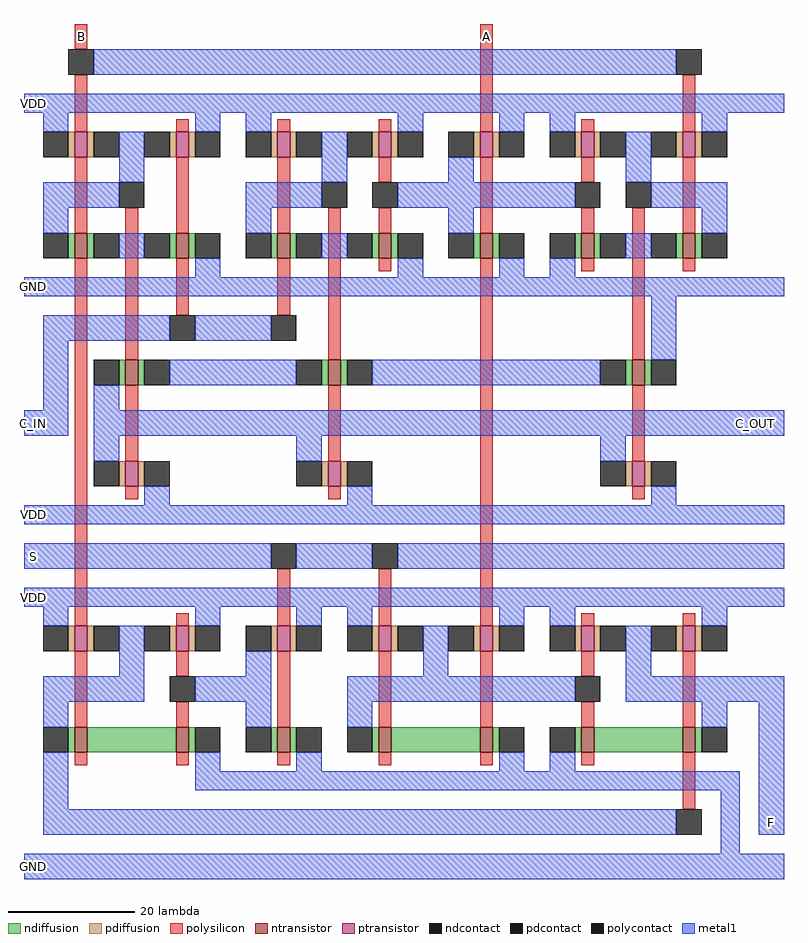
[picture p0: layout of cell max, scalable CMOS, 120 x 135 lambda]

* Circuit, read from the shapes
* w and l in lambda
.subckt max A B C_IN C_OUT F GND S VDD
M1 n1 B n2 VSUBS nfet w=4 l=2
M2 n3 B n4 VSUBS nfet w=4 l=2
M3 n5 n4 C_OUT VSUBS nfet w=4 l=2
M4 GND n6 n1 VSUBS nfet w=4 l=2
M5 GND C_IN n3 VSUBS nfet w=4 l=2
M6 GND S n6 VSUBS nfet w=4 l=2
M7 n7 C_IN n8 VSUBS nfet w=4 l=2
M8 n9 n8 n5 VSUBS nfet w=4 l=2
M9 n10 S n11 VSUBS nfet w=4 l=2
M10 GND n12 n7 VSUBS nfet w=4 l=2
M11 GND A n10 VSUBS nfet w=4 l=2
M12 GND A n12 VSUBS nfet w=4 l=2
M13 n13 n11 GND VSUBS nfet w=4 l=2
M14 n14 n12 GND VSUBS nfet w=4 l=2
M15 GND n15 n9 VSUBS nfet w=4 l=2
M16 F n2 n13 VSUBS nfet w=4 l=2
M17 n15 B n14 VSUBS nfet w=4 l=2
M18 n2 B VDD NWELL pfet w=4 l=2
M19 n4 B VDD NWELL pfet w=4 l=2
M20 VDD n4 C_OUT NWELL pfet w=4 l=2
M21 VDD n6 n2 NWELL pfet w=4 l=2
M22 VDD C_IN n4 NWELL pfet w=4 l=2
M23 VDD S n6 NWELL pfet w=4 l=2
M24 n8 C_IN VDD NWELL pfet w=4 l=2
M25 VDD n8 C_OUT NWELL pfet w=4 l=2
M26 n11 S VDD NWELL pfet w=4 l=2
M27 VDD n12 n8 NWELL pfet w=4 l=2
M28 VDD A n11 NWELL pfet w=4 l=2
M29 VDD A n12 NWELL pfet w=4 l=2
M30 F n11 VDD NWELL pfet w=4 l=2
M31 n15 n12 VDD NWELL pfet w=4 l=2
M32 VDD n15 C_OUT NWELL pfet w=4 l=2
M33 VDD n2 F NWELL pfet w=4 l=2
M34 VDD B n15 NWELL pfet w=4 l=2
.ends

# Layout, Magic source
magic
tech scmos
<< ntransistor >>
rect -53 33 -51 37
rect -37 33 -35 37
rect -21 33 -19 37
rect -5 33 -3 37
rect 11 33 13 37
rect 27 33 29 37
rect -45 13 -43 17
rect -13 13 -11 17
rect 43 33 45 37
rect 35 13 37 17
rect -53 -45 -51 -41
rect -37 -45 -35 -41
rect -21 -45 -19 -41
rect -5 -45 -3 -41
rect 11 -45 13 -41
rect 27 -45 29 -41
rect 43 -45 45 -41
<< ptransistor >>
rect -53 49 -51 53
rect -37 49 -35 53
rect -21 49 -19 53
rect -5 49 -3 53
rect 11 49 13 53
rect 27 49 29 53
rect 43 49 45 53
rect -45 -3 -43 1
rect -13 -3 -11 1
rect 35 -3 37 1
rect -53 -29 -51 -25
rect -37 -29 -35 -25
rect -21 -29 -19 -25
rect -5 -29 -3 -25
rect 11 -29 13 -25
rect 27 -29 29 -25
rect 43 -29 45 -25
<< ndiffusion >>
rect -54 33 -53 37
rect -51 33 -50 37
rect -38 33 -37 37
rect -35 33 -34 37
rect -22 33 -21 37
rect -19 33 -18 37
rect -6 33 -5 37
rect -3 33 -2 37
rect 10 33 11 37
rect 13 33 14 37
rect 26 33 27 37
rect 29 33 30 37
rect -46 13 -45 17
rect -43 13 -42 17
rect -14 13 -13 17
rect -11 13 -10 17
rect 42 33 43 37
rect 45 33 46 37
rect 34 13 35 17
rect 37 13 38 17
rect -54 -45 -53 -41
rect -51 -45 -37 -41
rect -35 -45 -34 -41
rect -22 -45 -21 -41
rect -19 -45 -18 -41
rect -6 -45 -5 -41
rect -3 -45 11 -41
rect 13 -45 14 -41
rect 26 -45 27 -41
rect 29 -45 43 -41
rect 45 -45 46 -41
<< pdiffusion >>
rect -54 49 -53 53
rect -51 49 -50 53
rect -38 49 -37 53
rect -35 49 -34 53
rect -22 49 -21 53
rect -19 49 -18 53
rect -6 49 -5 53
rect -3 49 -2 53
rect 10 49 11 53
rect 13 49 14 53
rect 26 49 27 53
rect 29 49 30 53
rect 42 49 43 53
rect 45 49 46 53
rect -46 -3 -45 1
rect -43 -3 -42 1
rect -14 -3 -13 1
rect -11 -3 -10 1
rect 34 -3 35 1
rect 37 -3 38 1
rect -54 -29 -53 -25
rect -51 -29 -50 -25
rect -38 -29 -37 -25
rect -35 -29 -34 -25
rect -22 -29 -21 -25
rect -19 -29 -18 -25
rect -6 -29 -5 -25
rect -3 -29 -2 -25
rect 10 -29 11 -25
rect 13 -29 14 -25
rect 26 -29 27 -25
rect 29 -29 30 -25
rect 42 -29 43 -25
rect 45 -29 46 -25
<< ndcontact >>
rect -58 33 -54 37
rect -50 33 -46 37
rect -42 33 -38 37
rect -34 33 -30 37
rect -26 33 -22 37
rect -18 33 -14 37
rect -10 33 -6 37
rect -2 33 2 37
rect 6 33 10 37
rect 14 33 18 37
rect 22 33 26 37
rect 30 33 34 37
rect -50 13 -46 17
rect -42 13 -38 17
rect -18 13 -14 17
rect -10 13 -6 17
rect 38 33 42 37
rect 46 33 50 37
rect 30 13 34 17
rect 38 13 42 17
rect -58 -45 -54 -41
rect -34 -45 -30 -41
rect -26 -45 -22 -41
rect -18 -45 -14 -41
rect -10 -45 -6 -41
rect 14 -45 18 -41
rect 22 -45 26 -41
rect 46 -45 50 -41
<< pdcontact >>
rect -58 49 -54 53
rect -50 49 -46 53
rect -42 49 -38 53
rect -34 49 -30 53
rect -26 49 -22 53
rect -18 49 -14 53
rect -10 49 -6 53
rect -2 49 2 53
rect 6 49 10 53
rect 14 49 18 53
rect 22 49 26 53
rect 30 49 34 53
rect 38 49 42 53
rect 46 49 50 53
rect -50 -3 -46 1
rect -42 -3 -38 1
rect -18 -3 -14 1
rect -10 -3 -6 1
rect 30 -3 34 1
rect 38 -3 42 1
rect -58 -29 -54 -25
rect -50 -29 -46 -25
rect -42 -29 -38 -25
rect -34 -29 -30 -25
rect -26 -29 -22 -25
rect -18 -29 -14 -25
rect -10 -29 -6 -25
rect -2 -29 2 -25
rect 6 -29 10 -25
rect 14 -29 18 -25
rect 22 -29 26 -25
rect 30 -29 34 -25
rect 38 -29 42 -25
rect 46 -29 50 -25
<< polysilicon >>
rect -53 66 -51 70
rect -53 53 -51 62
rect -37 53 -35 55
rect -21 53 -19 55
rect -5 53 -3 55
rect 11 53 13 70
rect 27 53 29 55
rect 43 53 45 62
rect -53 37 -51 49
rect -53 -25 -51 33
rect -45 17 -43 41
rect -37 37 -35 49
rect -21 37 -19 49
rect -5 45 -3 49
rect -37 24 -35 33
rect -21 24 -19 33
rect -13 17 -11 41
rect -5 37 -3 41
rect 11 37 13 49
rect 27 45 29 49
rect 27 37 29 41
rect -5 31 -3 33
rect -45 1 -43 13
rect -13 1 -11 13
rect -45 -5 -43 -3
rect -13 -5 -11 -3
rect -37 -25 -35 -23
rect -21 -25 -19 -16
rect -5 -25 -3 -16
rect 11 -25 13 33
rect 27 31 29 33
rect 35 17 37 41
rect 43 37 45 49
rect 43 31 45 33
rect 35 1 37 13
rect 35 -5 37 -3
rect 27 -25 29 -23
rect 43 -25 45 -23
rect -53 -41 -51 -29
rect -37 -33 -35 -29
rect -37 -41 -35 -37
rect -21 -41 -19 -29
rect -5 -41 -3 -29
rect 11 -41 13 -29
rect 27 -33 29 -29
rect 27 -41 29 -37
rect 43 -41 45 -29
rect -53 -47 -51 -45
rect -37 -47 -35 -45
rect -21 -47 -19 -45
rect -5 -47 -3 -45
rect 11 -47 13 -45
rect 27 -47 29 -45
rect 43 -54 45 -45
<< polycontact >>
rect -54 62 -50 66
rect 42 62 46 66
rect -46 41 -42 45
rect -14 41 -10 45
rect -6 41 -2 45
rect -38 20 -34 24
rect -22 20 -18 24
rect 26 41 30 45
rect 34 41 38 45
rect -22 -16 -18 -12
rect -6 -16 -2 -12
rect -38 -37 -34 -33
rect 26 -37 30 -33
rect 42 -58 46 -54
<< metal1 >>
rect -50 62 42 66
rect -61 56 59 59
rect -58 53 -54 56
rect -34 53 -30 56
rect -46 45 -42 53
rect -26 53 -22 56
rect -2 53 2 56
rect 14 53 18 56
rect -14 45 -10 53
rect 22 53 26 56
rect 46 53 50 56
rect 6 45 10 49
rect 34 45 38 53
rect -58 41 -46 45
rect -26 41 -14 45
rect -2 41 26 45
rect 38 41 50 45
rect -58 37 -54 41
rect -26 37 -22 41
rect 6 37 10 41
rect 46 37 50 41
rect -46 33 -42 37
rect -14 33 -10 37
rect -34 30 -30 33
rect -2 30 2 33
rect 14 30 18 33
rect 34 33 38 37
rect 22 30 26 33
rect -61 27 59 30
rect -58 20 -38 24
rect -34 20 -22 24
rect -58 9 -54 20
rect 38 17 42 27
rect -61 5 -54 9
rect -38 13 -18 17
rect -6 13 30 17
rect -50 9 -46 13
rect -50 5 59 9
rect -50 1 -46 5
rect -18 1 -14 5
rect 30 1 34 5
rect -42 -6 -38 -3
rect -10 -6 -6 -3
rect 38 -6 42 -3
rect -61 -9 59 -6
rect -61 -16 -22 -12
rect -18 -16 -6 -12
rect -2 -16 59 -12
rect -61 -22 59 -19
rect -58 -25 -54 -22
rect -34 -25 -30 -22
rect -18 -25 -14 -22
rect -46 -33 -42 -25
rect -10 -25 -6 -22
rect 14 -25 18 -22
rect -26 -33 -22 -29
rect 2 -33 6 -25
rect 22 -25 26 -22
rect 46 -25 50 -22
rect 34 -33 38 -25
rect -58 -37 -42 -33
rect -34 -37 -22 -33
rect -58 -41 -54 -37
rect -26 -41 -22 -37
rect -10 -37 26 -33
rect 34 -37 59 -33
rect -10 -41 -6 -37
rect 46 -41 50 -37
rect -58 -54 -54 -45
rect -34 -48 -30 -45
rect -18 -48 -14 -45
rect 14 -48 18 -45
rect 22 -48 26 -45
rect -34 -51 52 -48
rect -58 -58 42 -54
rect 49 -61 52 -51
rect 55 -58 59 -37
rect -61 -65 59 -61
<< labels >>
rlabel metal1 -61 -65 -58 -61 0 GND
rlabel metal1 55 -58 59 -54 0 F
rlabel polysilicon -53 66 -51 70 0 B
rlabel polysilicon 11 66 13 70 0 A
rlabel metal1 -61 56 -58 59 0 VDD
rlabel metal1 -61 27 -58 30 0 GND
rlabel metal1 -61 5 -58 9 0 C_IN
rlabel metal1 -61 -9 -58 -6 0 VDD
rlabel metal1 -61 -16 -58 -12 0 S
rlabel metal1 -61 -22 -58 -19 0 VDD
rlabel metal1 50 5 59 9 0 C_OUT
<< end >>
